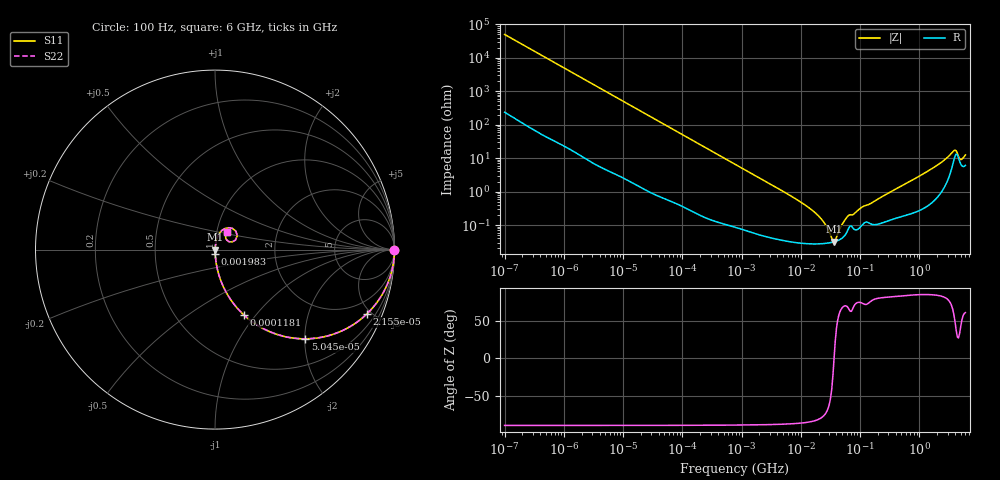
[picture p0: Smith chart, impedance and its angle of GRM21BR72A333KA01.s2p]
!Murata Part Number: GRM21BR72A333KA01
!These Parameters are Measured in Series Mode Connection
!Data Generated on Mar 30, 2021
!  o--ll--o
!Port1  Port2
!  o------o
!Operation Temp=25[degC], DC Bias Voltage=0[V]
!Freq. Start=100[Hz] Stop=6[GHz] 401[Steps]
# Hz S RI R 50
!Freq.(Hz) S11(Real) S11(Imag) S21(Real) S21(Imag) S12(Real) S12(Imag) S22(Real) S22(Imag)
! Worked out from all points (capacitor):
!   401 points, 100 Hz to 6 GHz, reference 50 ohm
!   read as one part in series: C = 31.9 nF near 109 Hz
!   lowest |Z| = 31.6 mohm at 36.42 MHz (marker M1)
!   series resonance near 36.43 MHz, so ESL is about 600 pH
!   S11 on the Smith chart (normalised r, x): 100 Hz: open; 21.55 kHz: 1.02, -4.70; 50.45 kHz: 1.01, -2.01; 118.1 kHz: 1.01, -0.86; 1.983 MHz: 1.00, -0.05; 6 GHz: 1.12, +0.22
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100  1 -0.002  1.35e-05 0.002  1.35e-05 0.002  1 -0.002
2008  0.9982 -0.0398  0.00177 0.0398  0.00177 0.0398  0.9982 -0.0398
7358  0.9785 -0.1425  0.0215 0.1425  0.0215 0.1425  0.9785 -0.1425
21550  0.8455 -0.3588  0.1545 0.3588  0.1545 0.3588  0.8455 -0.3588
40335  0.6123 -0.4844  0.3877 0.4844  0.3877 0.4844  0.6123 -0.4844
50455  0.5034 -0.497  0.4966 0.497  0.4966 0.497  0.5034 -0.497
118133  0.1588 -0.3619  0.8412 0.3619  0.8412 0.3619  0.1588 -0.3619
241822  0.0443 -0.2017  0.9557 0.2017  0.9557 0.2017  0.0443 -0.2017
774597  0.00523 -0.0659  0.9948 0.0659  0.9948 0.0659  0.00523 -0.0659
1983483  0.00119 -0.026  0.9988 0.026  0.9988 0.026  0.00119 -0.026
1.555665e7  0.000281 -0.00276  0.9997 0.00276  0.9997 0.00276  0.000281 -0.00276
2.327686e7  0.00028 -0.00134  0.9997 0.00134  0.9997 0.00134  0.00028 -0.00134
3.330331e7  0.000304 -0.000263  0.9997 0.000263  0.9997 0.000263  0.000304 -0.000263
3.64232e7  0.000316 -6e-07  0.9997 6e-07  0.9997 6e-07  0.000316 -6e-07
5.211241e7  0.000436 0.00111  0.9996 -0.00111  0.9996 -0.00111  0.000436 0.00111
6.233367e7  0.000711 0.00172  0.9993 -0.00172  0.9993 -0.00172  0.000711 0.00172
3.124326e8  0.00146 0.00924  0.9985 -0.00924  0.9985 -0.00924  0.00146 0.00924
1.712697e9  0.00756 0.0505  0.9924 -0.0505  0.9924 -0.0505  0.00756 0.0505
3.666503e9  0.0771 0.1221  0.9229 -0.1221  0.9229 -0.1221  0.0771 0.1221
4.009986e9  0.116 0.1033  0.884 -0.1033  0.884 -0.1033  0.116 0.1033
5.016141e9  0.0654 0.0535  0.9346 -0.0535  0.9346 -0.0535  0.0654 0.0535
6e9  0.0674 0.0955  0.9326 -0.0955  0.9326 -0.0955  0.0674 0.0955
